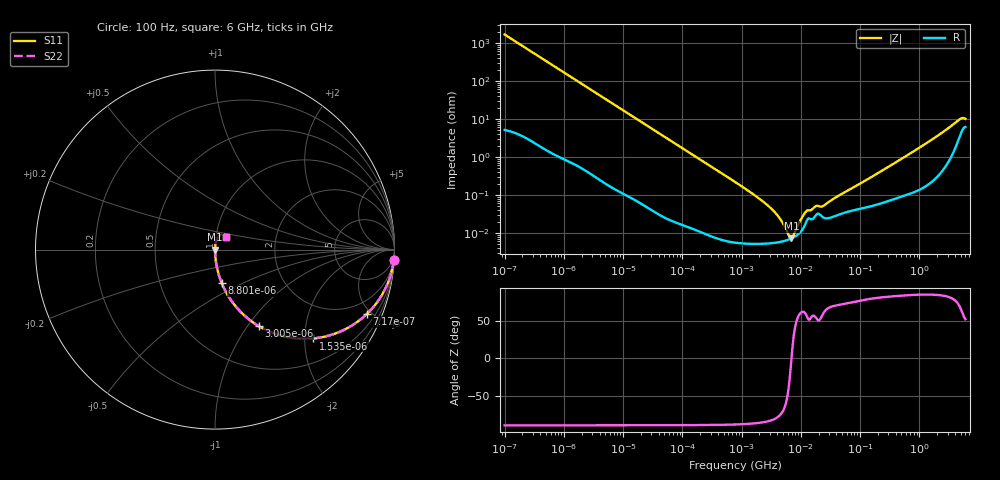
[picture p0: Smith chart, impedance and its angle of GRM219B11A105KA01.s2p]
!Murata Part Number: GRM219B11A105KA01
!These Parameters are Measured in Series Mode Connection
!Data Generated on Mar 30, 2021
!  o--ll--o
!Port1  Port2
!  o------o
!Operation Temp=25[degC], DC Bias Voltage=0[V]
!Freq. Start=100[Hz] Stop=6[GHz] 401[Steps]
# Hz S RI R 50
!Freq.(Hz) S11(Real) S11(Imag) S21(Real) S21(Imag) S12(Real) S12(Imag) S22(Real) S22(Imag)
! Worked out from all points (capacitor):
!   401 points, 100 Hz to 6 GHz, reference 50 ohm
!   read as one part in series: C = 948 nF near 109 Hz
!   lowest |Z| = 7.21 mohm at 6.949 MHz (marker M1)
!   series resonance near 6.956 MHz, so ESL is about 550 pH
!   S11 on the Smith chart (normalised r, x): 100 Hz: 1, -34; 717 Hz: 1.02, -4.70; 1.535 kHz: 1.01, -2.20; 3.005 kHz: 1.01, -1.13; 8.801 kHz: 1.00, -0.39; 6 GHz: 1.12, +0.16
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100  0.9963 -0.0594  0.00372 0.0594  0.00372 0.0594  0.9963 -0.0594
335  0.9611 -0.1911  0.0389 0.1911  0.0389 0.1911  0.9611 -0.1911
717  0.8457 -0.3588  0.1543 0.3588  0.1543 0.3588  0.8457 -0.3588
1535  0.5479 -0.4948  0.4521 0.4948  0.4521 0.4948  0.5479 -0.4948
2008  0.4159 -0.4899  0.5841 0.4899  0.5841 0.4899  0.4159 -0.4899
3005  0.2429 -0.4259  0.7571 0.4259  0.7571 0.4259  0.2429 -0.4259
4918  0.108 -0.3075  0.892 0.3075  0.892 0.3075  0.108 -0.3075
8801  0.0371 -0.186  0.9629 0.186  0.9629 0.186  0.0371 -0.186
40335  0.0021 -0.0424  0.9979 0.0424  0.9979 0.0424  0.0021 -0.0424
774597  6.06e-05 -0.00221  0.9999 0.00221  0.9999 0.00221  6.06e-05 -0.00221
2967816  5.36e-05 -0.00048  0.9999 0.00048  0.9999 0.00048  5.36e-05 -0.00048
4246196  5.74e-05 -0.000258  0.9999 0.000258  0.9999 0.000258  5.74e-05 -0.000258
5809218  6.47e-05 -9.16e-05  0.9999 9.16e-05  0.9999 9.16e-05  6.47e-05 -9.16e-05
6948629  7.21e-05 -5e-07  0.9999 5e-07  0.9999 5e-07  7.21e-05 -5e-07
7947587  8.05e-05 6.9e-05  0.9999 -6.9e-05  0.9999 -6.9e-05  8.05e-05 6.9e-05
1.189169e7  0.00017 0.000304  0.9998 -0.000304  0.9998 -0.000304  0.00017 0.000304
1.555665e7  0.00023 0.000353  0.9998 -0.000353  0.9998 -0.000353  0.00023 0.000353
2.434276e7  0.000253 0.000461  0.9997 -0.000461  0.9997 -0.000461  0.000253 0.000461
3.124326e8  0.000739 0.00567  0.9993 -0.00567  0.9993 -0.00567  0.000739 0.00567
1.637704e9  0.00305 0.0286  0.9969 -0.0286  0.9969 -0.0286  0.00305 0.0286
4.586474e9  0.0346 0.0834  0.9654 -0.0834  0.9654 -0.0834  0.0346 0.0834
6e9  0.0633 0.0707  0.9367 -0.0707  0.9367 -0.0707  0.0633 0.0707
